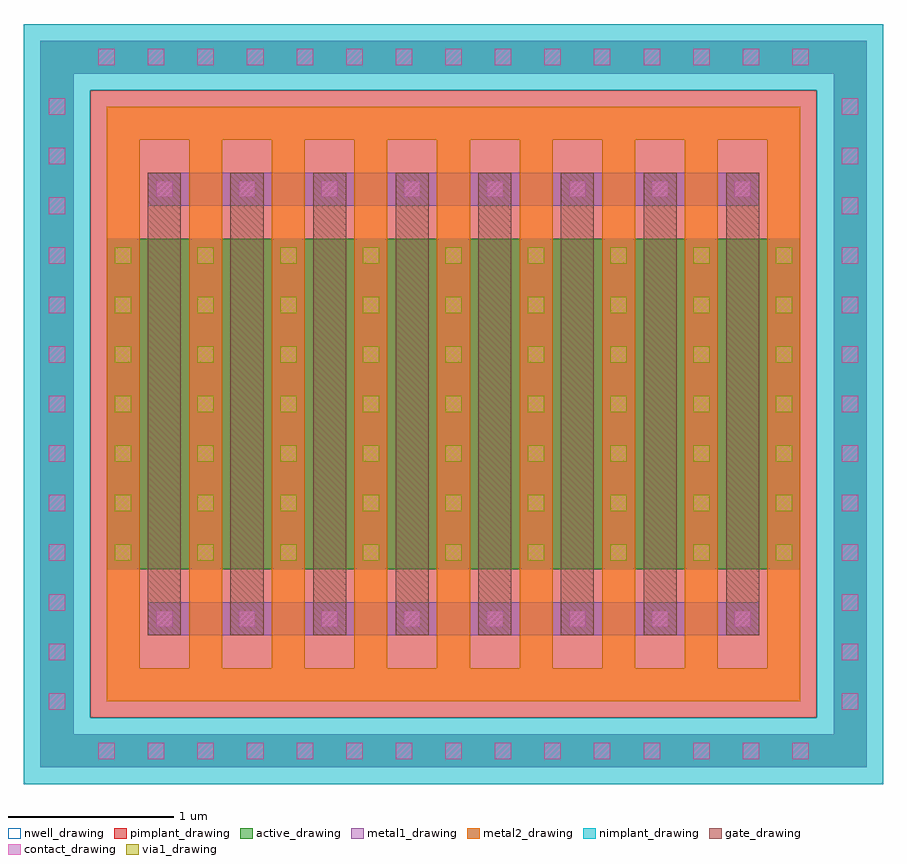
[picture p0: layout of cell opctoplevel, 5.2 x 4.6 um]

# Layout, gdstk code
import gdstk
lib = gdstk.Library(unit=1e-6, precision=1e-09)
def R(c, l, rs):  # rectangles x0, y0, x1, y1
    for r in rs: c.add(gdstk.rectangle(r[:2], r[2:], *l))
def A(c, l, x, y, w, h, nx, ny, dx, dy):  # array of equal rectangles
    R(c, l, [(x+i*dx, y+j*dy, x+i*dx+w, y+j*dy+h) for i in range(nx) for j in range(ny)])
active_drawing = (1, 0)
nwell_drawing = (3, 0)
pimplant_drawing = (4, 0)
nimplant_drawing = (5, 0)
gate_drawing = (6, 0)
contact_drawing = (7, 0)
metal1_drawing = (8, 0)
via1_drawing = (9, 0)
metal2_drawing = (10, 0)

opctoplevel = lib.new_cell('opctoplevel')
R(opctoplevel, active_drawing, [(-0.65,-1.2,4.35,-1), (-0.65,-1.2,-0.45,3.2), (4.15,-1.2,4.35,3.2), (-0.25,0,3.95,2), (-0.65,3,4.35,3.2)])
R(opctoplevel, nwell_drawing, [(-0.75,-1.3,4.45,3.3)])
R(opctoplevel, pimplant_drawing, [(-0.35,-0.9,4.05,2.9)])
R(opctoplevel, nimplant_drawing, [(-0.75,-1.3,4.45,-0.9), (-0.75,-1.3,-0.35,3.3), (4.05,-1.3,4.45,3.3), (-0.75,2.9,4.45,3.3)])
A(opctoplevel, gate_drawing, 0, -0.4, 0.2, 2.8, 8, 1, 0.5, 0)
A(opctoplevel, contact_drawing, -0.3, -1.15, 0.1, 0.1, 15, 2, 0.3, 4.2)
A(opctoplevel, contact_drawing, -0.6, -0.85, 0.1, 0.1, 1, 13, 0, 0.3)
A(opctoplevel, contact_drawing, 4.2, -0.85, 0.1, 0.1, 1, 13, 0, 0.3)
A(opctoplevel, contact_drawing, 0.05, -0.35, 0.1, 0.1, 8, 2, 0.5, 2.6)
A(opctoplevel, contact_drawing, -0.2, 0.05, 0.1, 0.1, 9, 7, 0.5, 0.3)
A(opctoplevel, metal1_drawing, -0.25, 0, 0.2, 2, 9, 1, 0.5, 0)
R(opctoplevel, metal1_drawing, [(-0.65,-1.2,4.35,-1), (-0.65,-1.2,-0.45,3.2), (4.15,-1.2,4.35,3.2), (0,-0.4,3.7,-0.2), (0,2.2,3.7,2.4), (-0.65,3,4.35,3.2)])
A(opctoplevel, via1_drawing, -0.2, 0.05, 0.1, 0.1, 9, 7, 0.5, 0.3)
A(opctoplevel, metal2_drawing, -0.25, -0.6, 0.2, 0.6, 9, 2, 0.5, 2.6)
A(opctoplevel, metal2_drawing, -0.25, 0, 0.2, 2, 9, 1, 0.5, 0)
R(opctoplevel, metal2_drawing, [(-0.25,-0.8,3.95,-0.6), (0.25,-0.8,3.45,-0.6), (-0.25,2.6,3.95,2.8), (0.25,2.6,3.45,2.8)])

lib.write_gds('opctoplevel.gds')
